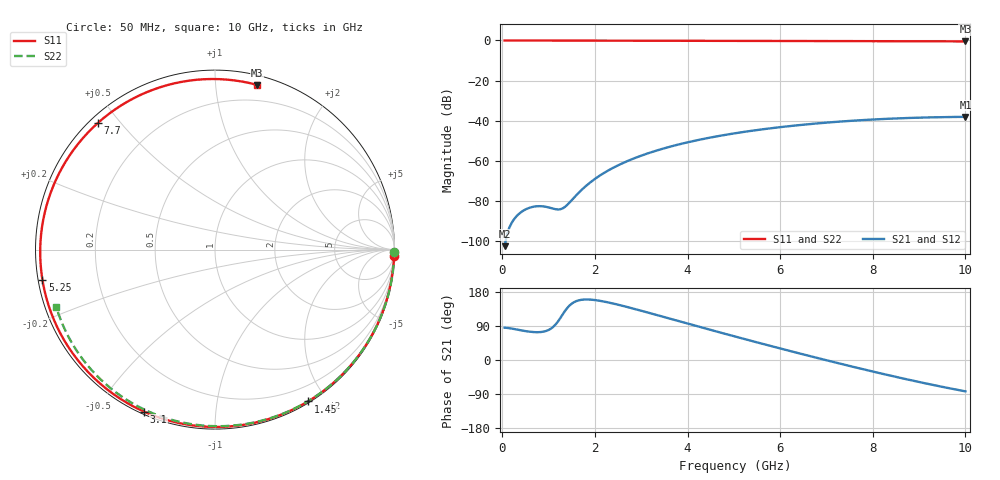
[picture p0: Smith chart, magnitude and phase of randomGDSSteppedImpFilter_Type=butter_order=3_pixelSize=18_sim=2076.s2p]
! freq	dB(S11)	phase(S11)	dB(S12)	phase(S12)
!  dB(S21)	phase(S21)	dB(S22)	phase(S22)
!S-par simulation data
#  GHz  S  DB  R 50
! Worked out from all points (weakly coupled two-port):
!   200 points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, 50 MHz to 10 GHz, reference 50 ohm
!   highest |S21| = -38.13 dB at 10 GHz (marker M1); lowest = -102.6 dB at 50 MHz (marker M2)
!   lowest |S11| = -0.5 dB at 10 GHz (marker M3), VSWR 36.83, Z = 3.61 + j64.3 ohm
!   |S11| at or under -10 dB: nowhere
!   |S22| runs from -0.5 to 0.0 dB; largest |S21 - S12| = 0
!   S11 on the Smith chart (normalised r, x): 50 MHz: 1, -57; 1.45 GHz: 0.02, -1.78; 3.1 GHz: 0.01, -0.65; 5.25 GHz: 0.01, -0.09; 7.7 GHz: 0.02, +0.44; 10 GHz: 0.07, +1.29
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0.05  -0.01 -2.0  -102.65 85.1  -102.65 85.1  -0.00 -0.9
0.35  -0.03 -14.6  -86.72 79.5  -86.72 79.5  -0.01 -6.4
0.7  -0.04 -29.1  -82.86 73.5  -82.86 73.5  -0.02 -12.9
1.1  -0.06 -45.1  -83.92 87.5  -83.92 87.5  -0.03 -20.2
1.45  -0.07 -58.5  -80.94 143.6  -80.94 143.6  -0.03 -26.5
1.5  -0.07 -60.4  -79.69 148.8  -79.69 148.8  -0.03 -27.4
1.75  -0.08 -69.6  -73.77 159.4  -73.77 159.4  -0.04 -31.8
2  -0.09 -78.4  -69.09 158.2  -69.09 158.2  -0.05 -36.3
2.3  -0.10 -88.6  -64.71 151.6  -64.71 151.6  -0.05 -41.5
2.65  -0.11 -99.9  -60.71 141.3  -60.71 141.3  -0.06 -47.6
3.1  -0.13 -113.7  -56.67 126.7  -56.67 126.7  -0.07 -55.3
3.4  -0.14 -122.4  -54.46 116.6  -54.46 116.6  -0.08 -60.3
4.2  -0.16 -144.0  -49.82 89.5  -49.82 89.5  -0.10 -73.5
5.05  -0.20 -165.1  -46.22 61.2  -46.22 61.2  -0.13 -87.0
5.25  -0.21 -169.9  -45.52 54.6  -45.52 54.6  -0.14 -90.1
5.95  -0.24 173.6  -43.40 32.1  -43.40 32.1  -0.17 -100.7
6.7  -0.29 156.2  -41.60 8.5  -41.60 8.5  -0.22 -111.9
7.2  -0.32 144.6  -40.64 -6.8  -40.64 -6.8  -0.25 -119.2
7.7  -0.34 132.8  -39.85 -21.7  -39.85 -21.7  -0.29 -126.4
8.35  -0.38 117.2  -39.06 -40.4  -39.06 -40.4  -0.35 -135.8
9.2  -0.43 96.1  -38.41 -63.3  -38.41 -63.3  -0.44 -148.1
10  -0.47 75.6  -38.13 -82.7  -38.13 -82.7  -0.54 -160.0
